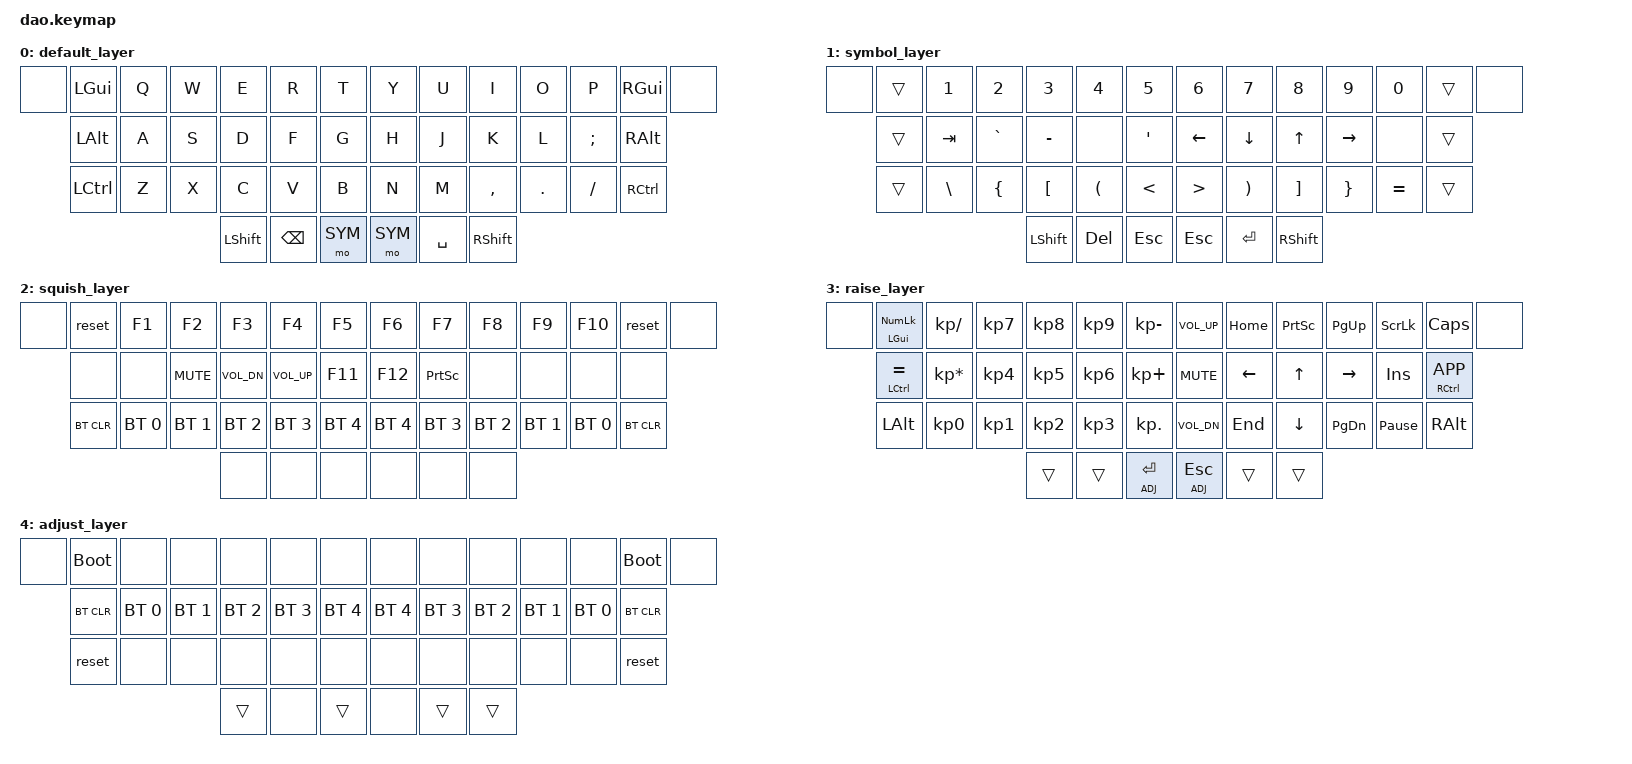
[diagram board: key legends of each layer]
/*
 * Copyright (c) 2021 Rafael Yumagulov
 *
 * SPDX-License-Identifier: MIT
 */

#include <behaviors.dtsi>
#include <dt-bindings/zmk/keys.h>
#include <dt-bindings/zmk/bt.h>

#define DEF 0
#define SYM 1
#define SQSH 2
#define RSE 3
#define ADJ 4

&lt { quick_tap_ms = <200>; };
&mt { quick_tap_ms = <200>; };

/ {
    combos {
        compatible = "zmk,combos";
        combo_lalt {
            timeout-ms = <50>;
            key-positions = <30 38>; // V + LSHFT
            bindings = <&kp LALT>;
        };
        combo_lctl {
            timeout-ms = <50>;
            key-positions = <31 39>; // B + BSPC
            bindings = <&kp LCTL>;
        };
        combo_rctl {
            timeout-ms = <50>;
            key-positions = <32 42>; // N + SPACE
            bindings = <&kp RCTL>;
        };
        combo_ralt {
            timeout-ms = <50>;
            key-positions = <33 43>; // M + LSHFT
            bindings = <&kp RALT>;
        };
        combo_squish {
            timeout-ms = <50>;
            key-positions = <6 7 40 41>; // T + 6 + FN + FN
            bindings = <&sl SQSH>;
        };
    };
        keymap {
                compatible = "zmk,keymap";

                default_layer {
                        bindings = <
  &none   &kp LGUI    &kp Q   &kp W   &kp E        &kp R       &kp T       &kp Y       &kp U         &kp I        &kp O     &kp P      &kp RGUI    &none
          &kp LALT    &kp A   &kp S   &kp D        &kp F       &kp G       &kp H       &kp J         &kp K        &kp L     &kp SEMI   &kp RALT
          &kp LCTRL   &kp Z   &kp X   &kp C        &kp V       &kp B       &kp N       &kp M         &kp COMMA    &kp DOT   &kp FSLH   &kp RCTRL
                                      &kp LSHFT    &kp BSPC    &mo SYM     &mo SYM     &kp SPACE     &kp RSHFT
                        >;
                };
                symbol_layer {
                        bindings = <
  &none   &trans   &kp N1        &kp N2     &kp N3     &kp N4     &kp N5       &kp N6    &kp N7    &kp N8    &kp N9     &kp N0     &trans   &none
          &trans   &kp TAB       &kp GRAVE  &kp MINUS  &none      &kp SQT      &kp LEFT  &kp DOWN  &kp UP    &kp RIGHT  &none      &trans
          &trans   &kp BACKSLASH &kp LBRC   &kp LBKT   &kp LPAR   &kp LT       &kp GT    &kp RPAR  &kp RBKT  &kp RBRC   &kp EQUAL  &trans
                                           &kp LSHFT    &kp DEL  &kp ESC     &kp ESC   &kp RET   &kp RSHFT
                        >;
                };
                
                squish_layer {
                        bindings = <
  &none   &reset        &kp F1     &kp F2       &kp F3       &kp F4       &kp F5           &kp F6       &kp F7        &kp F8        &kp F9        &kp F10       &reset      &none
          &none        &none       &kp C_MUTE   &kp C_VOL_DN &kp C_VOL_UP &kp F11          &kp F12      &kp PSCRN     &none         &none         &none         &none
          &bt BT_CLR  &bt BT_SEL 0 &bt BT_SEL 1 &bt BT_SEL 2 &bt BT_SEL 3 &bt BT_SEL 4     &bt BT_SEL 4 &bt BT_SEL 3  &bt BT_SEL 2  &bt BT_SEL 1  &bt BT_SEL 0  &bt BT_CLR
                                               &none   &none     &none      &none      &none     &none
                        >;
                };

                raise_layer {
                        bindings = <
  &none   &mt LGUI KP_NUM   &kp KP_SLASH      &kp KP_N7   &kp KP_N8   &kp KP_N9   &kp KP_MINUS   &kp C_VOL_UP   &kp HOME   &kp PSCRN   &kp PG_UP   &kp SLCK          &kp CLCK           &none
          &mt LCTRL EQUAL   &kp KP_MULTIPLY   &kp KP_N4   &kp KP_N5   &kp KP_N6   &kp KP_PLUS    &kp C_MUTE     &kp LEFT   &kp UP      &kp RIGHT   &kp INS           &mt RCTRL  K_APP
          &kp LALT          &kp KP_N0         &kp KP_N1   &kp KP_N2   &kp KP_N3   &kp KP_DOT     &kp C_VOL_DN   &kp END    &kp DOWN    &kp PG_DN   &kp PAUSE_BREAK   &kp RALT
                                                          &trans      &trans      &lt ADJ RET    &lt ADJ ESC    &trans     &trans
                        >;
                };
                adjust_layer {
                        bindings = <
  &none   &bootloader   &none          &none          &none          &none          &none          &none          &none          &none          &none          &none          &bootloader   &none
          &bt BT_CLR    &bt BT_SEL 0   &bt BT_SEL 1   &bt BT_SEL 2   &bt BT_SEL 3   &bt BT_SEL 4   &bt BT_SEL 4   &bt BT_SEL 3   &bt BT_SEL 2   &bt BT_SEL 1   &bt BT_SEL 0   &bt BT_CLR
          &reset        &none          &none          &none          &none          &none          &none          &none          &none          &none          &none          &reset
                                                      &trans         &none          &trans         &none          &trans         &trans
                        >;
                };
        };
};
